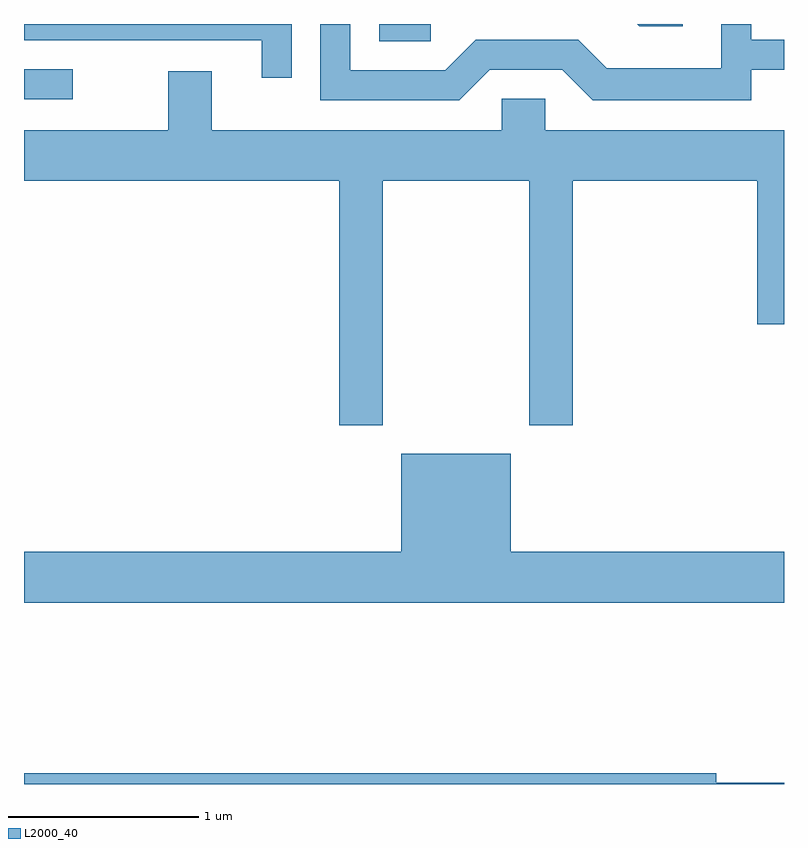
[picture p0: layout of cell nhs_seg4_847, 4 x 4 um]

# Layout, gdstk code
import gdstk
lib = gdstk.Library(unit=1e-6, precision=1e-09)
def R(c, l, rs):  # rectangles x0, y0, x1, y1
    for r in rs: c.add(gdstk.rectangle(r[:2], r[2:], *l))
def P(c, l, *ps):  # polygons
    for p in ps: c.add(gdstk.Polygon(p, *l))
L2000_40 = (2000, 40)

nhs_seg4_847 = lib.new_cell('nhs_seg4_847')
R(nhs_seg4_847, L2000_40, [(209.611,1319.586,209.868,1319.744), (211.481,1319.891,211.753,1319.982)])
P(nhs_seg4_847, L2000_40, [(213.078,1319.982),(212.838,1319.982),(212.849,1319.971),(213.078,1319.971)],
  [(212.062,1319.741),(212.444,1319.741),(212.604,1319.581),(213.439,1319.581),(213.439,1319.741),(213.611,1319.741),(213.611,1319.899),(213.439,1319.899),(213.439,1319.982),(213.281,1319.982),(213.281,1319.749),(212.677,1319.749),(212.527,1319.899),(211.989,1319.899),(211.829,1319.739),(211.329,1319.739),(211.329,1319.982),(211.171,1319.982),(211.171,1319.581),(211.902,1319.581)],
  [(211.019,1319.982),(209.611,1319.982),(209.611,1319.896),(210.861,1319.896),(210.861,1319.698),(211.019,1319.698)],
  [(211.499,1319.156),(212.271,1319.156),(212.271,1317.871),(212.499,1317.871),(212.499,1319.156),(213.471,1319.156),(213.471,1318.401),(213.611,1318.401),(213.611,1319.424),(212.354,1319.424),(212.354,1319.589),(212.126,1319.589),(212.126,1319.424),(210.599,1319.424),(210.599,1319.734),(210.371,1319.734),(210.371,1319.424),(209.611,1319.424),(209.611,1319.156),(211.271,1319.156),(211.271,1317.871),(211.499,1317.871)],
  [(213.611,1317.204),(212.174,1317.204),(212.174,1317.719),(211.596,1317.719),(211.596,1317.204),(209.611,1317.204),(209.611,1316.936),(213.611,1316.936)],
  [(213.611,1315.989),(213.254,1315.989),(213.254,1316.039),(209.611,1316.039),(209.611,1315.982),(213.611,1315.982)])

lib.write_gds('nhs_seg4_847.gds')
